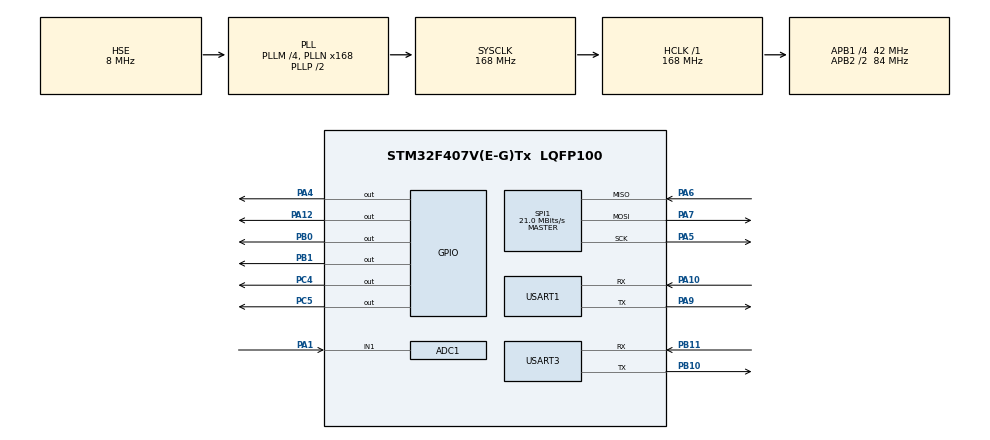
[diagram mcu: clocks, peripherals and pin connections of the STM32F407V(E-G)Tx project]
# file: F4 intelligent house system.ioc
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ADC1.Channel-3\#ChannelRegularConversion=ADC_CHANNEL_1
ADC1.NbrOfConversionFlag=1
ADC1.Rank-3\#ChannelRegularConversion=1
ADC1.SamplingTime-3\#ChannelRegularConversion=ADC_SAMPLETIME_3CYCLES
ADC1.master=1
Dma.Request0=SPI1_RX
Dma.Request1=SPI1_TX
Dma.SPI1_RX.0.Direction=DMA_PERIPH_TO_MEMORY
Dma.SPI1_RX.0.FIFOMode=DMA_FIFOMODE_DISABLE
Dma.SPI1_RX.0.Instance=DMA2_Stream0
Dma.SPI1_RX.0.MemDataAlignment=DMA_MDATAALIGN_BYTE
Dma.SPI1_RX.0.MemInc=DMA_MINC_ENABLE
Dma.SPI1_RX.0.Mode=DMA_NORMAL
Dma.SPI1_RX.0.PeriphDataAlignment=DMA_PDATAALIGN_BYTE
Dma.SPI1_RX.0.PeriphInc=DMA_PINC_DISABLE
Dma.SPI1_RX.0.Priority=DMA_PRIORITY_MEDIUM
Dma.SPI1_TX.1.Direction=DMA_MEMORY_TO_PERIPH
Dma.SPI1_TX.1.FIFOMode=DMA_FIFOMODE_DISABLE
Dma.SPI1_TX.1.Instance=DMA2_Stream3
Dma.SPI1_TX.1.MemDataAlignment=DMA_MDATAALIGN_BYTE
Dma.SPI1_TX.1.MemInc=DMA_MINC_ENABLE
Dma.SPI1_TX.1.Mode=DMA_NORMAL
Dma.SPI1_TX.1.PeriphDataAlignment=DMA_PDATAALIGN_BYTE
Dma.SPI1_TX.1.PeriphInc=DMA_PINC_DISABLE
Dma.SPI1_TX.1.Priority=DMA_PRIORITY_MEDIUM
FREERTOS.Tasks01=defaultTask,24,256,StartDefaultTask,Default,NULL,Dynamic,NULL,NULL
FREERTOS.configMINIMAL_STACK_SIZE=256
Mcu.Family=STM32F4
Mcu.Name=STM32F407V(E-G)Tx
Mcu.Package=LQFP100
NVIC.ADC_IRQn=true\:5\:0\:false\:false\:true\:true\:true\:true\:true
NVIC.DMA2_Stream0_IRQn=true\:5\:0\:false\:false\:true\:true\:false\:true\:true
NVIC.DMA2_Stream3_IRQn=true\:5\:0\:false\:false\:true\:true\:false\:true\:true
NVIC.PriorityGroup=NVIC_PRIORITYGROUP_4
NVIC.SPI1_IRQn=true\:5\:0\:false\:false\:true\:true\:true\:true\:true
NVIC.TIM4_IRQn=true\:15\:0\:false\:false\:true\:false\:false\:true\:true
NVIC.TIM7_IRQn=true\:5\:0\:false\:false\:true\:true\:true\:true\:true
NVIC.TimeBase=TIM4_IRQn
NVIC.TimeBaseIP=TIM4
NVIC.USART1_IRQn=true\:5\:0\:false\:false\:true\:true\:true\:true\:true
NVIC.USART3_IRQn=true\:5\:0\:false\:false\:true\:true\:true\:true\:true
PA0-WKUP.Mode=SYS_WakeUp0
PA0-WKUP.Signal=SYS_WKUP
PA1.Signal=ADCx_IN1
PA10.Mode=Asynchronous
PA10.Signal=USART1_RX
PA12.Signal=GPIO_Output
PA13.Mode=Serial_Wire
PA13.Signal=SYS_JTMS-SWDIO
PA14.Mode=Serial_Wire
PA14.Signal=SYS_JTCK-SWCLK
PA4.GPIO_Speed=GPIO_SPEED_FREQ_MEDIUM
PA4.PinState=GPIO_PIN_SET
PA4.Signal=GPIO_Output
PA5.Mode=Full_Duplex_Master
PA5.Signal=SPI1_SCK
PA6.Mode=Full_Duplex_Master
PA6.Signal=SPI1_MISO
PA7.Mode=Full_Duplex_Master
PA7.Signal=SPI1_MOSI
PA9.Mode=Asynchronous
PA9.Signal=USART1_TX
PB0.GPIO_Speed=GPIO_SPEED_FREQ_MEDIUM
PB0.PinState=GPIO_PIN_SET
PB0.Signal=GPIO_Output
PB1.GPIO_Speed=GPIO_SPEED_FREQ_HIGH
PB1.PinState=GPIO_PIN_SET
PB1.Signal=GPIO_Output
PB10.Mode=Asynchronous
PB10.Signal=USART3_TX
PB11.Mode=Asynchronous
PB11.Signal=USART3_RX
PC14-OSC32_IN.Mode=LSE-External-Oscillator
PC14-OSC32_IN.Signal=RCC_OSC32_IN
PC15-OSC32_OUT.Mode=LSE-External-Oscillator
PC15-OSC32_OUT.Signal=RCC_OSC32_OUT
PC4.GPIO_Speed=GPIO_SPEED_FREQ_MEDIUM
PC4.PinState=GPIO_PIN_SET
PC4.Signal=GPIO_Output
PC5.GPIO_Speed=GPIO_SPEED_FREQ_MEDIUM
PC5.PinState=GPIO_PIN_SET
PC5.Signal=GPIO_Output
PH0-OSC_IN.Mode=HSE-External-Oscillator
PH0-OSC_IN.Signal=RCC_OSC_IN
PH1-OSC_OUT.Mode=HSE-External-Oscillator
PH1-OSC_OUT.Signal=RCC_OSC_OUT
ProjectManager.HeapSize=0x200
ProjectManager.StackSize=0x400
ProjectManager.TargetToolchain=MDK-ARM V5.32
RCC.48MHZClocksFreq_Value=84000000
RCC.AHBFreq_Value=168000000
RCC.APB1CLKDivider=RCC_HCLK_DIV4
RCC.APB1Freq_Value=42000000
RCC.APB1TimFreq_Value=84000000
RCC.APB2CLKDivider=RCC_HCLK_DIV2
RCC.APB2Freq_Value=84000000
RCC.APB2TimFreq_Value=168000000
RCC.CortexFreq_Value=168000000
RCC.HCLKFreq_Value=168000000
RCC.HSE_VALUE=8000000
RCC.HSI_VALUE=16000000
RCC.PLLM=4
RCC.PLLN=168
RCC.PLLSourceVirtual=RCC_PLLSOURCE_HSE
RCC.SYSCLKFreq_VALUE=168000000
RCC.SYSCLKSource=RCC_SYSCLKSOURCE_PLLCLK
RCC.VCOOutputFreq_Value=336000000
SH.ADCx_IN1.0=ADC1_IN1,IN1
SPI1.BaudRatePrescaler=SPI_BAUDRATEPRESCALER_4
SPI1.CRCCalculation=SPI_CRCCALCULATION_DISABLE
SPI1.CalculateBaudRate=21.0 MBits/s
SPI1.Direction=SPI_DIRECTION_2LINES
SPI1.Mode=SPI_MODE_MASTER
SPI1.VirtualType=VM_MASTER
TIM7.Period=1
TIM7.Prescaler=84-1
USART1.VirtualMode=VM_ASYNC
USART3.VirtualMode=VM_ASYNC
VP_FREERTOS_VS_CMSIS_V2.Mode=CMSIS_V2
VP_SYS_VS_tim4.Mode=TIM4
VP_TIM5_VS_ClockSourceITR.Mode=TriggerSource_ITR0
VP_TIM5_VS_ControllerModeClock.Mode=Clock Mode
VP_TIM7_VS_ClockSourceINT.Mode=Enable_Timer
board=custom

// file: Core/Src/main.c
/* USER CODE BEGIN Header */
/**
  ******************************************************************************
  * @file           : main.c
  * @brief          : Main program body
  ******************************************************************************
  * @attention
  *
  * Copyright (c) 2024 STMicroelectronics.
  * All rights reserved.
  *
  * This software is licensed under terms that can be found in the LICENSE file
  * in the root directory of this software component.
  * If no LICENSE file comes with this software, it is provided AS-IS.
  *
  ******************************************************************************
  */
/* USER CODE END Header */
#include "main.h"
#include "cmsis_os.h"
#include "adc.h"
#include "dma.h"
#include "spi.h"
#include "tim.h"
#include "usart.h"
#include "gpio.h"

/* USER CODE BEGIN Includes */
#include "Dth11.h"
#include "Lightsensor.h"
#include "Lcd.h"
/* USER CODE END Includes */

/* USER CODE BEGIN PM */
ring_buffer test_buffer;
/* USER CODE END PM */

void SystemClock_Config(void);
void MX_FREERTOS_Init(void);

int main(void)
{

  /* MCU Configuration--------------------------------------------------------*/

  /* Reset of all peripherals, Initializes the Flash interface and the Systick. */
  HAL_Init();

  /* Configure the system clock */
  SystemClock_Config();

  /* Initialize all configured peripherals */
  MX_GPIO_Init();
  MX_DMA_Init();
  MX_TIM5_Init();
  MX_USART1_UART_Init();
  MX_USART3_UART_Init();
  MX_ADC1_Init();
  MX_SPI1_Init();
  MX_TIM7_Init();
  /* USER CODE BEGIN 2 */
  LCD_Init();
  LCD_Fill(0, 0,LCD_W,LCD_H, WHITE);

	EnableDebugIRQ();
	EnableUART3IRQ();
	Uart3_Lock_Init();
  ring_buffer_init(&test_buffer);

	ATInit();
	printf("Hello World!\r\n");
  LCD_ShowString(0,0, "Smarthouse data", BLACK, WHITE,16 , 0);
  LCD_ShowString(0,20, "Tempature:    ^c", BLACK, WHITE, 12, 0);
  LCD_ShowString(0,32, "Humidity:     %", BLACK, WHITE, 12, 0);
  LCD_ShowString(0,44, "Light:          Lux", BLACK, WHITE, 12, 0);
  /* USER CODE END 2 */

  /* Init scheduler */
  osKernelInitialize();

  /* Call init function for freertos objects (in cmsis_os2.c) */
  MX_FREERTOS_Init();

  /* Start scheduler */
  osKernelStart();

  /* We should never get here as control is now taken by the scheduler */

  /* Infinite loop */
  while (1)
  {

  }
}

void SystemClock_Config(void)
{
  RCC_OscInitTypeDef RCC_OscInitStruct = {0};
  RCC_ClkInitTypeDef RCC_ClkInitStruct = {0};

  /** Configure the main internal regulator output voltage
  */
  __HAL_RCC_PWR_CLK_ENABLE();
  __HAL_PWR_VOLTAGESCALING_CONFIG(PWR_REGULATOR_VOLTAGE_SCALE1);

  /** Initializes the RCC Oscillators according to the specified parameters
  * in the RCC_OscInitTypeDef structure.
  */
  RCC_OscInitStruct.OscillatorType = RCC_OSCILLATORTYPE_HSE;
  RCC_OscInitStruct.HSEState = RCC_HSE_ON;
  RCC_OscInitStruct.PLL.PLLState = RCC_PLL_ON;
  RCC_OscInitStruct.PLL.PLLSource = RCC_PLLSOURCE_HSE;
  RCC_OscInitStruct.PLL.PLLM = 4;
  RCC_OscInitStruct.PLL.PLLN = 168;
  RCC_OscInitStruct.PLL.PLLP = RCC_PLLP_DIV2;
  RCC_OscInitStruct.PLL.PLLQ = 4;
  if (HAL_RCC_OscConfig(&RCC_OscInitStruct) != HAL_OK)
  {
    Error_Handler();
  }

  /** Initializes the CPU, AHB and APB buses clocks
  */
  RCC_ClkInitStruct.ClockType = RCC_CLOCKTYPE_HCLK|RCC_CLOCKTYPE_SYSCLK
                              |RCC_CLOCKTYPE_PCLK1|RCC_CLOCKTYPE_PCLK2;
  RCC_ClkInitStruct.SYSCLKSource = RCC_SYSCLKSOURCE_PLLCLK;
  RCC_ClkInitStruct.AHBCLKDivider = RCC_SYSCLK_DIV1;
  RCC_ClkInitStruct.APB1CLKDivider = RCC_HCLK_DIV4;
  RCC_ClkInitStruct.APB2CLKDivider = RCC_HCLK_DIV2;

  if (HAL_RCC_ClockConfig(&RCC_ClkInitStruct, FLASH_LATENCY_5) != HAL_OK)
  {
    Error_Handler();
  }
}

void HAL_TIM_PeriodElapsedCallback(TIM_HandleTypeDef *htim)
{
  if (htim->Instance == TIM4) {
    HAL_IncTick();
  }
}

void Error_Handler(void)
{
  __disable_irq();
  while (1)
  {
  }
}

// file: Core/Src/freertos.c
/* USER CODE BEGIN Header */
/**
  ******************************************************************************
  * File Name          : freertos.c
  * Description        : Code for freertos applications
  ******************************************************************************
  * @attention
  *
  * Copyright (c) 2024 STMicroelectronics.
  * All rights reserved.
  *
  * This software is licensed under terms that can be found in the LICENSE file
  * in the root directory of this software component.
  * If no LICENSE file comes with this software, it is provided AS-IS.
  *
  ******************************************************************************
  */
/* USER CODE END Header */

#include "FreeRTOS.h"
#include "task.h"
#include "main.h"
#include "cmsis_os.h"

/* USER CODE BEGIN Includes */
#include "MQTT_Task.h"
#include "ATcommand.h"
#include "Dth11.h"
#include "Lightsensor.h"
/* USER CODE END Includes */

/* USER CODE BEGIN PD */
//static TaskHandle_t xDTH11Handle;
/* USER CODE END PD */

/* USER CODE BEGIN Variables */
TaskHandle_t G_xMQTTClientInitHandle;
/* USER CODE END Variables */
/* Definitions for defaultTask */
osThreadId_t defaultTaskHandle;
const osThreadAttr_t defaultTask_attributes = {
  .name = "defaultTask",
  .stack_size = 256 * 4,
  .priority = (osPriority_t) osPriorityNormal,
};

void StartDefaultTask(void *argument);

void MX_FREERTOS_Init(void); /* (MISRA C 2004 rule 8.1) */

void MX_FREERTOS_Init(void) {

  /* Create the thread(s) */
  /* creation of defaultTask */
  defaultTaskHandle = osThreadNew(StartDefaultTask, NULL, &defaultTask_attributes);

  /* USER CODE BEGIN RTOS_THREADS */
  /* add threads, ... */

	osThreadNew(AT_RecvParse, NULL, &defaultTask_attributes);

	//osThreadNew(MQTT_Client_Init, NULL, &defaultTask_attributes);
	xTaskCreate(MQTT_Client_Init, "MQTT_Client_Init", 128, NULL, (osPriority_t)osPriorityRealtime, &G_xMQTTClientInitHandle);
	//osThreadNew(MQTT_Client_Task, NULL, &defaultTask_attributes);

  /* USER CODE END RTOS_THREADS */

}

void StartDefaultTask(void *argument)
{
  /* USER CODE BEGIN StartDefaultTask */
	printf("StartDefaultTask\r\n");
  /* Infinite loop */
  for(;;)
  {
    osDelay(1);
  }
  /* USER CODE END StartDefaultTask */
}
